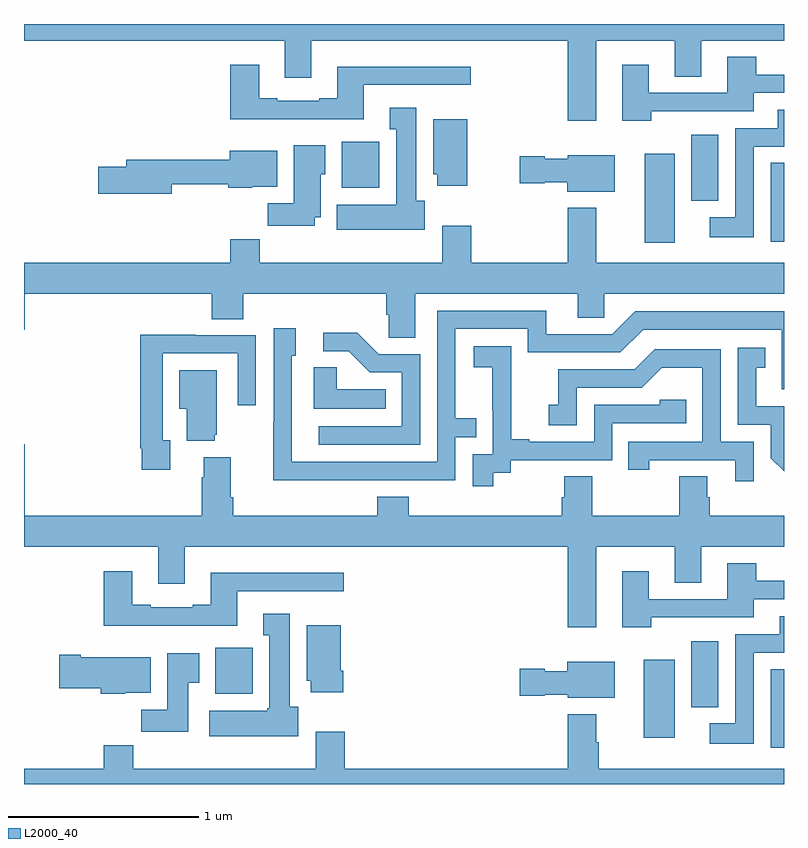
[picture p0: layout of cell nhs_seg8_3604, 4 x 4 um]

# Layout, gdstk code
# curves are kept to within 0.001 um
import gdstk
lib = gdstk.Library(unit=1e-6, precision=1e-09)
def R(c, l, rs):  # rectangles x0, y0, x1, y1
    for r in rs: c.add(gdstk.rectangle(r[:2], r[2:], *l))
def P(c, l, *ps):  # polygons
    for p in ps: c.add(gdstk.Polygon(p, *l))
L2000_40 = (2000, 40)

nhs_seg8_3604 = lib.new_cell('nhs_seg8_3604')
R(nhs_seg8_3604, L2000_40, [(336.929,1134.09,337,1134.505), (336.263,1134.144,336.424,1134.553), (336.512,1134.305,336.655,1134.652), (334.007,1134.374,334.204,1134.616), (336.266,1136.748,336.424,1137.217), (336.929,1136.754,337,1137.169), (336.512,1136.969,336.655,1137.316), (334.673,1137.038,334.87,1137.28)])
P(nhs_seg8_3604, L2000_40, [(336.013,1137.812),(336.425,1137.812),(336.425,1137.622),(336.565,1137.622),(336.565,1137.812),(337,1137.812),(337,1137.9),(333,1137.9),(333,1137.812),(334.373,1137.812),(334.373,1137.618),(334.513,1137.618),(334.513,1137.812),(335.861,1137.812),(335.861,1137.39),(336.013,1137.39)],
  [(336.302,1137.441),(336.841,1137.441),(336.841,1137.537),(337,1137.537),(337,1137.634),(336.854,1137.634),(336.854,1137.727),(336.701,1137.727),(336.701,1137.537),(336.289,1137.537),(336.289,1137.685),(336.149,1137.685),(336.149,1137.39),(336.302,1137.39)],
  [(334.789,1137.579),(335.35,1137.579),(335.35,1137.676),(334.649,1137.676),(334.649,1137.508),(334.553,1137.508),(334.553,1137.495),(334.333,1137.495),(334.333,1137.508),(334.237,1137.508),(334.237,1137.685),(334.085,1137.685),(334.085,1137.398),(334.789,1137.398)],
  [(335.11,1136.97),(335.065,1136.97),(335.065,1137.46),(334.925,1137.46),(334.925,1137.347),(334.958,1137.347),(334.958,1136.95),(334.646,1136.95),(334.646,1136.816),(335.11,1136.816)],
  [(336.84,1137.255),(337,1137.255),(337,1137.448),(336.968,1137.448),(336.968,1137.351),(336.744,1137.351),(336.744,1136.884),(336.609,1136.884),(336.609,1136.777),(336.84,1136.777)],
  [(335.332,1137.4),(335.153,1137.4),(335.153,1137.108),(335.174,1137.108),(335.174,1137.048),(335.332,1137.048)],
  [(334.531,1136.882),(334.561,1136.882),(334.561,1137.108),(334.585,1137.108),(334.585,1137.262),(334.421,1137.262),(334.421,1136.956),(334.282,1136.956),(334.282,1136.838),(334.531,1136.838)],
  [(333.778,1137.057),(334.075,1137.057),(334.075,1137.038),(334.2,1137.038),(334.2,1137.044),(334.333,1137.044),(334.333,1137.232),(334.082,1137.232),(334.082,1137.185),(333.539,1137.185),(333.539,1137.149),(333.39,1137.149),(333.39,1137.007),(333.778,1137.007)],
  [(336.109,1137.208),(335.862,1137.208),(335.862,1137.19),(335.742,1137.19),(335.742,1137.203),(335.61,1137.203),(335.61,1137.061),(335.742,1137.061),(335.742,1137.068),(335.858,1137.068),(335.858,1137.017),(336.109,1137.017)],
  [(334.241,1136.768),(334.085,1136.768),(334.085,1136.644),(333,1136.644),(333,1136.292),(333.004,1136.292),(333.004,1136.48),(333.989,1136.48),(333.989,1136.347),(334.154,1136.347),(334.154,1136.48),(334.907,1136.48),(334.907,1136.371),(334.92,1136.371),(334.92,1136.248),(335.059,1136.248),(335.059,1136.48),(335.915,1136.48),(335.915,1136.353),(336.054,1136.353),(336.054,1136.48),(337,1136.48),(337,1136.644),(336.013,1136.644),(336.013,1136.932),(335.861,1136.932),(335.861,1136.644),(335.354,1136.644),(335.354,1136.839),(335.201,1136.839),(335.201,1136.644),(334.241,1136.644)],
  [(334.775,1135.5),(335.271,1135.5),(335.271,1135.725),(335.381,1135.725),(335.381,1135.826),(335.271,1135.826),(335.271,1136.295),(335.652,1136.295),(335.652,1136.172),(336.138,1136.172),(336.258,1136.292),(336.987,1136.292),(336.987,1135.977),(337,1135.977),(337,1136.388),(336.216,1136.388),(336.096,1136.268),(335.749,1136.268),(335.749,1136.391),(335.175,1136.391),(335.175,1135.596),(334.41,1135.596),(334.41,1136.154),(334.429,1136.154),(334.429,1136.299),(334.314,1136.299),(334.314,1135.805),(334.312,1135.805),(334.312,1135.499)],
  [(335.085,1136.163),(334.866,1136.163),(334.753,1136.276),(334.575,1136.276),(334.575,1136.178),(334.709,1136.178),(334.82,1136.067),(334.989,1136.067),(334.989,1135.782),(334.551,1135.782),(334.551,1135.686),(335.085,1135.686)],
  [(333.769,1135.71),(333.729,1135.71),(333.729,1136.166),(334.125,1136.166),(334.125,1135.893),(334.221,1135.893),(334.221,1136.262),(333.905,1136.262),(333.905,1136.264),(333.613,1136.264),(333.613,1135.666),(333.621,1135.666),(333.621,1135.554),(333.769,1135.554)],
  [(335.47,1135.537),(335.562,1135.537),(335.562,1135.605),(336.096,1135.605),(336.096,1135.8),(336.485,1135.8),(336.485,1135.923),(336.345,1135.923),(336.345,1135.896),(336,1135.896),(336,1135.701),(335.659,1135.701),(335.659,1135.714),(335.564,1135.714),(335.564,1135.997),(335.565,1135.997),(335.565,1136.203),(335.367,1136.203),(335.367,1136.093),(335.465,1136.093),(335.465,1135.865),(335.466,1135.865),(335.466,1135.635),(335.361,1135.635),(335.361,1135.467),(335.47,1135.467)],
  [(337,1135.887),(336.853,1135.887),(336.853,1136.091),(336.902,1136.091),(336.902,1136.197),(336.756,1136.197),(336.756,1135.791),(336.93,1135.791),(336.93,1135.614),(337,1135.545)],
  [(336.84,1135.701),(336.666,1135.701),(336.666,1136.187),(336.32,1136.187),(336.215,1136.082),(335.812,1136.082),(335.812,1135.897),(335.763,1135.897),(335.763,1135.788),(335.91,1135.788),(335.91,1135.986),(336.252,1135.986),(336.356,1136.09),(336.57,1136.09),(336.57,1135.701),(336.181,1135.701),(336.181,1135.554),(336.292,1135.554),(336.292,1135.605),(336.743,1135.605),(336.743,1135.494),(336.84,1135.494)],
  [(334.904,1135.978),(334.647,1135.978),(334.647,1136.093),(334.526,1136.093),(334.526,1135.874),(334.904,1135.874)],
  [(334.004,1135.737),(334.015,1135.737),(334.015,1136.077),(333.818,1136.077),(333.818,1135.874),(333.857,1135.874),(333.857,1135.706),(334.004,1135.706)],
  [(336.013,1135.148),(336.425,1135.148),(336.425,1134.958),(336.565,1134.958),(336.565,1135.148),(337,1135.148),(337,1135.312),(336.608,1135.312),(336.608,1135.41),(336.595,1135.41),(336.595,1135.52),(336.448,1135.52),(336.448,1135.312),(335.991,1135.312),(335.991,1135.52),(335.843,1135.52),(335.843,1135.41),(335.831,1135.41),(335.831,1135.312),(335.024,1135.312),(335.024,1135.411),(334.859,1135.411),(334.859,1135.312),(334.1,1135.312),(334.1,1135.408),(334.087,1135.408),(334.087,1135.621),(333.947,1135.621),(333.947,1135.514),(333.935,1135.514),(333.935,1135.312),(333.004,1135.312),(333.004,1135.687),(333,1135.687),(333,1135.148),(333.707,1135.148),(333.707,1134.954),(333.847,1134.954),(333.847,1135.148),(335.861,1135.148),(335.861,1134.726),(336.013,1134.726)],
  [(336.302,1134.777),(336.841,1134.777),(336.841,1134.873),(337,1134.873),(337,1134.97),(336.854,1134.97),(336.854,1135.063),(336.701,1135.063),(336.701,1134.873),(336.289,1134.873),(336.289,1135.021),(336.149,1135.021),(336.149,1134.726),(336.302,1134.726)],
  [(334.123,1134.915),(334.684,1134.915),(334.684,1135.012),(333.983,1135.012),(333.983,1134.844),(333.887,1134.844),(333.887,1134.831),(333.667,1134.831),(333.667,1134.844),(333.571,1134.844),(333.571,1135.021),(333.419,1135.021),(333.419,1134.734),(334.123,1134.734)],
  [(334.444,1134.306),(334.399,1134.306),(334.399,1134.796),(334.259,1134.796),(334.259,1134.683),(334.292,1134.683),(334.292,1134.3),(334.279,1134.3),(334.279,1134.286),(333.975,1134.286),(333.975,1134.152),(334.444,1134.152)],
  [(336.84,1134.591),(337,1134.591),(337,1134.784),(336.977,1134.784),(336.977,1134.687),(336.744,1134.687),(336.744,1134.22),(336.609,1134.22),(336.609,1134.113),(336.84,1134.113)],
  [(334.679,1134.496),(334.666,1134.496),(334.666,1134.736),(334.487,1134.736),(334.487,1134.444),(334.508,1134.444),(334.508,1134.384),(334.679,1134.384)],
  [(333.865,1134.433),(333.922,1134.433),(333.922,1134.589),(333.755,1134.589),(333.755,1134.292),(333.616,1134.292),(333.616,1134.174),(333.865,1134.174)],
  [(333.534,1134.38),(333.667,1134.38),(333.667,1134.568),(333.298,1134.568),(333.298,1134.581),(333.186,1134.581),(333.186,1134.403),(333.404,1134.403),(333.404,1134.374),(333.534,1134.374)],
  [(336.109,1134.544),(335.858,1134.544),(335.858,1134.493),(335.742,1134.493),(335.742,1134.506),(335.61,1134.506),(335.61,1134.364),(335.742,1134.364),(335.742,1134.371),(335.862,1134.371),(335.862,1134.353),(336.109,1134.353)],
  [(337,1133.98),(336.026,1133.98),(336.026,1134.119),(336.013,1134.119),(336.013,1134.268),(335.861,1134.268),(335.861,1133.98),(334.688,1133.98),(334.688,1134.175),(334.535,1134.175),(334.535,1133.98),(333.575,1133.98),(333.575,1134.104),(333.419,1134.104),(333.419,1133.98),(333,1133.98),(333,1133.9),(337,1133.9)])

lib.write_gds('nhs_seg8_3604.gds')
